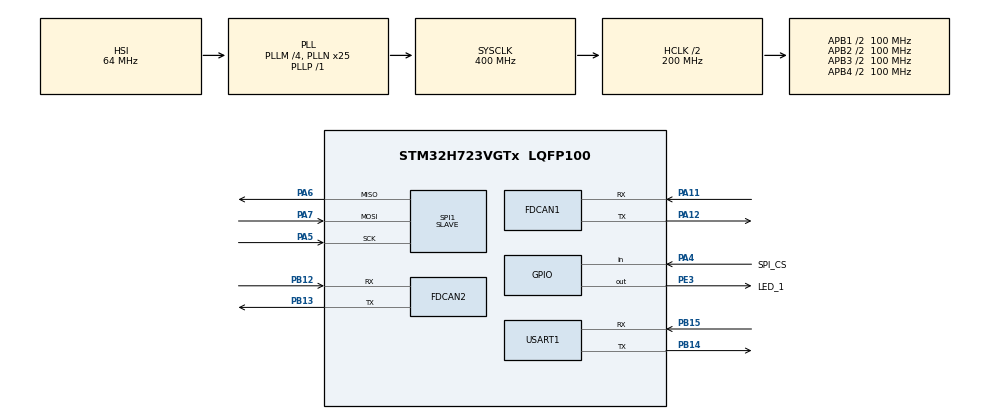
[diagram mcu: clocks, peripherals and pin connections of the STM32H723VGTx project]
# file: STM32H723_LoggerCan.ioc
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CORTEX_M7.default_mode_Activation=1
Dma.Request0=SPI1_RX
Dma.Request1=SPI1_TX
Dma.SPI1_RX.0.Direction=DMA_PERIPH_TO_MEMORY
Dma.SPI1_RX.0.EventEnable=DISABLE
Dma.SPI1_RX.0.FIFOMode=DMA_FIFOMODE_DISABLE
Dma.SPI1_RX.0.Instance=DMA1_Stream0
Dma.SPI1_RX.0.MemDataAlignment=DMA_MDATAALIGN_BYTE
Dma.SPI1_RX.0.MemInc=DMA_MINC_ENABLE
Dma.SPI1_RX.0.Mode=DMA_NORMAL
Dma.SPI1_RX.0.PeriphDataAlignment=DMA_PDATAALIGN_BYTE
Dma.SPI1_RX.0.PeriphInc=DMA_PINC_DISABLE
Dma.SPI1_RX.0.Polarity=HAL_DMAMUX_REQ_GEN_RISING
Dma.SPI1_RX.0.Priority=DMA_PRIORITY_LOW
Dma.SPI1_RX.0.RequestNumber=1
Dma.SPI1_RX.0.SignalID=NONE
Dma.SPI1_RX.0.SyncEnable=DISABLE
Dma.SPI1_RX.0.SyncPolarity=HAL_DMAMUX_SYNC_NO_EVENT
Dma.SPI1_RX.0.SyncRequestNumber=1
Dma.SPI1_RX.0.SyncSignalID=NONE
Dma.SPI1_TX.1.Direction=DMA_MEMORY_TO_PERIPH
Dma.SPI1_TX.1.EventEnable=DISABLE
Dma.SPI1_TX.1.FIFOMode=DMA_FIFOMODE_DISABLE
Dma.SPI1_TX.1.Instance=DMA1_Stream1
Dma.SPI1_TX.1.MemDataAlignment=DMA_MDATAALIGN_BYTE
Dma.SPI1_TX.1.MemInc=DMA_MINC_ENABLE
Dma.SPI1_TX.1.Mode=DMA_NORMAL
Dma.SPI1_TX.1.PeriphDataAlignment=DMA_PDATAALIGN_BYTE
Dma.SPI1_TX.1.PeriphInc=DMA_PINC_DISABLE
Dma.SPI1_TX.1.Polarity=HAL_DMAMUX_REQ_GEN_RISING
Dma.SPI1_TX.1.Priority=DMA_PRIORITY_HIGH
Dma.SPI1_TX.1.RequestNumber=1
Dma.SPI1_TX.1.SignalID=NONE
Dma.SPI1_TX.1.SyncEnable=DISABLE
Dma.SPI1_TX.1.SyncPolarity=HAL_DMAMUX_SYNC_NO_EVENT
Dma.SPI1_TX.1.SyncRequestNumber=1
Dma.SPI1_TX.1.SyncSignalID=NONE
FDCAN1.CalculateBaudRateNominal=500000
FDCAN1.CalculateTimeBitNominal=2000
FDCAN1.CalculateTimeQuantumNominal=125.0
FDCAN1.NominalPrescaler=5
FDCAN1.NominalTimeSeg1=12
FDCAN1.NominalTimeSeg2=3
FDCAN1.RxFifo0ElmtsNbr=16
FDCAN1.RxFifo1ElmtsNbr=16
FDCAN1.TxFifoQueueElmtsNbr=8
FDCAN2.CalculateBaudRateNominal=250000
FDCAN2.CalculateTimeBitNominal=4000
FDCAN2.CalculateTimeQuantumNominal=250.0
FDCAN2.NominalPrescaler=10
FDCAN2.NominalTimeSeg1=12
FDCAN2.NominalTimeSeg2=3
FDCAN2.RxFifo0ElmtsNbr=16
FDCAN2.RxFifo1ElmtsNbr=16
FDCAN2.TxFifoQueueElmtsNbr=8
FREERTOS.Tasks01=receiveCanTask,24,128,StartReceiveCanTask,Default,NULL,Dynamic,NULL,NULL;spiTask,24,2048,StartSpiTask,Default,NULL,Dynamic,NULL,NULL
FREERTOS.configENABLE_FPU=1
FREERTOS.configGENERATE_RUN_TIME_STATS=1
FREERTOS.configTOTAL_HEAP_SIZE=64000
FREERTOS.configUSE_NEWLIB_REENTRANT=1
FREERTOS.configUSE_STATS_FORMATTING_FUNCTIONS=1
FREERTOS.copyHeapFile=1
Mcu.Family=STM32H7
Mcu.Name=STM32H723VGTx
Mcu.Package=LQFP100
NVIC.DMA1_Stream0_IRQn=true\:5\:0\:false\:false\:true\:true\:false\:true\:true
NVIC.DMA1_Stream1_IRQn=true\:5\:0\:false\:false\:true\:true\:false\:true\:true
NVIC.FDCAN1_IT0_IRQn=true\:5\:0\:false\:false\:true\:true\:true\:true\:true
NVIC.FDCAN1_IT1_IRQn=true\:5\:0\:false\:false\:true\:true\:true\:true\:true
NVIC.FDCAN2_IT0_IRQn=true\:5\:0\:false\:false\:true\:true\:true\:true\:true
NVIC.FDCAN2_IT1_IRQn=true\:5\:0\:false\:false\:true\:true\:true\:true\:true
NVIC.PriorityGroup=NVIC_PRIORITYGROUP_4
NVIC.SPI1_IRQn=true\:5\:0\:false\:false\:true\:true\:false\:true\:true
NVIC.TIM2_IRQn=true\:5\:0\:false\:false\:true\:true\:true\:true\:true
NVIC.TIM6_DAC_IRQn=true\:15\:0\:false\:false\:true\:false\:false\:true\:true
NVIC.TimeBase=TIM6_DAC_IRQn
NVIC.TimeBaseIP=TIM6
PA11.Mode=FDCAN_Activate
PA11.Signal=FDCAN1_RX
PA12.Mode=FDCAN_Activate
PA12.Signal=FDCAN1_TX
PA4.GPIO_Label=SPI_CS
PA4.Signal=GPIO_Input
PA5.Mode=Full_Duplex_Slave
PA5.Signal=SPI1_SCK
PA6.Mode=Full_Duplex_Slave
PA6.Signal=SPI1_MISO
PA7.Mode=Full_Duplex_Slave
PA7.Signal=SPI1_MOSI
PB12.Mode=FDCAN_Activate
PB12.Signal=FDCAN2_RX
PB13.Mode=FDCAN_Activate
PB13.Signal=FDCAN2_TX
PB14.Mode=Asynchronous
PB14.Signal=USART1_TX
PB15.Mode=Asynchronous
PB15.Signal=USART1_RX
PE3.GPIO_Label=LED_1
PE3.Signal=GPIO_Output
ProjectManager.HeapSize=0x200
ProjectManager.StackSize=0x400
ProjectManager.TargetToolchain=STM32CubeIDE
RCC.ADCFreq_Value=129000000
RCC.APB1Freq_Value=100000000
RCC.APB2Freq_Value=100000000
RCC.APB3Freq_Value=100000000
RCC.APB4Freq_Value=100000000
RCC.CortexFreq_Value=400000000
RCC.D1PPRE=RCC_APB3_DIV2
RCC.D2PPRE1=RCC_APB1_DIV2
RCC.D2PPRE2=RCC_APB2_DIV2
RCC.D3PPRE=RCC_APB4_DIV2
RCC.DIVM1=4
RCC.DIVN1=25
RCC.DIVP1=1
RCC.DIVQ1=10
RCC.HCLKFreq_Value=200000000
RCC.HPRE=RCC_HCLK_DIV2
RCC.PLLFRACN=0
RCC.SYSCLKFreq_VALUE=400000000
RCC.SYSCLKSource=RCC_SYSCLKSOURCE_PLLCLK
RCC.USBFreq_Value=40000000
SPI1.DataSize=SPI_DATASIZE_8BIT
SPI1.Direction=SPI_DIRECTION_2LINES
SPI1.Mode=SPI_MODE_SLAVE
SPI1.VirtualType=VM_SLAVE
TIM2.Prescaler=199
USART1.VirtualMode-Asynchronous=VM_ASYNC
VP_FREERTOS_VS_CMSIS_V2.Mode=CMSIS_V2
VP_MEMORYMAP_VS_MEMORYMAP.Mode=CurAppReg
VP_SYS_VS_tim6.Mode=TIM6
VP_TIM2_VS_ClockSourceINT.Mode=Internal
board=custom

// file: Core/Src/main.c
/* USER CODE BEGIN Header */
/**
  ******************************************************************************
  * @file           : main.c
  * @brief          : Main program body
  ******************************************************************************
  * @attention
  *
  * Copyright (c) 2025 STMicroelectronics.
  * All rights reserved.
  *
  * This software is licensed under terms that can be found in the LICENSE file
  * in the root directory of this software component.
  * If no LICENSE file comes with this software, it is provided AS-IS.
  *
  ******************************************************************************
  */
/* USER CODE END Header */
#include "main.h"
#include "cmsis_os.h"

/* USER CODE BEGIN Includes */
#include "can_buffer.h"
#include "timer_utils.h"
#include "debug_utils.h"
#include "spi_comm.h"
/* USER CODE END Includes */

FDCAN_HandleTypeDef hfdcan1;
FDCAN_HandleTypeDef hfdcan2;

SPI_HandleTypeDef hspi1;
DMA_HandleTypeDef hdma_spi1_rx;
DMA_HandleTypeDef hdma_spi1_tx;

TIM_HandleTypeDef htim2;

UART_HandleTypeDef huart1;

/* Definitions for receiveCanTask */
osThreadId_t receiveCanTaskHandle;
const osThreadAttr_t receiveCanTask_attributes = {
  .name = "receiveCanTask",
  .stack_size = 128 * 4,
  .priority = (osPriority_t) osPriorityNormal,
};
/* Definitions for spiTask */
osThreadId_t spiTaskHandle;
const osThreadAttr_t spiTask_attributes = {
  .name = "spiTask",
  .stack_size = 2048 * 4,
  .priority = (osPriority_t) osPriorityNormal,
};
/* USER CODE BEGIN PV */
FDCAN_FilterTypeDef canFilterFIFO0Config, canFilterFIFO1Config;
/* USER CODE END PV */

void SystemClock_Config(void);
static void MPU_Config(void);
static void MX_GPIO_Init(void);
static void MX_DMA_Init(void);
static void MX_FDCAN1_Init(void);
static void MX_SPI1_Init(void);
static void MX_TIM2_Init(void);
static void MX_USART1_UART_Init(void);
static void MX_FDCAN2_Init(void);
void StartReceiveCanTask(void *argument);
void StartSpiTask(void *argument);

int main(void)
{

  /* MPU Configuration--------------------------------------------------------*/
  MPU_Config();

  /* MCU Configuration--------------------------------------------------------*/

  /* Reset of all peripherals, Initializes the Flash interface and the Systick. */
  HAL_Init();

  /* Configure the system clock */
  SystemClock_Config();

  /* Initialize all configured peripherals */
  MX_GPIO_Init();
  MX_DMA_Init();
  MX_FDCAN1_Init();
  MX_SPI1_Init();
  MX_TIM2_Init();
  MX_USART1_UART_Init();
  MX_FDCAN2_Init();
  /* USER CODE BEGIN 2 */
  if (HAL_FDCAN_Start(&hfdcan1) != HAL_OK) {
			printf("Errore nell'avvio del CAN\n");
	} else {
	  printf("CAN avviato correttamente\n");
	}
	HAL_FDCAN_ActivateNotification(&hfdcan1, FDCAN_IT_RX_FIFO0_NEW_MESSAGE  | FDCAN_IT_RX_FIFO0_MESSAGE_LOST, 0);
	HAL_FDCAN_ActivateNotification(&hfdcan1, FDCAN_IT_RX_FIFO1_NEW_MESSAGE | FDCAN_IT_RX_FIFO1_MESSAGE_LOST, 0);

	if (HAL_FDCAN_Start(&hfdcan2) != HAL_OK) {
				printf("Errore nell'avvio del CAN\n");
		} else {
		  printf("CAN avviato correttamente\n");
		}
		HAL_FDCAN_ActivateNotification(&hfdcan2, FDCAN_IT_RX_FIFO0_NEW_MESSAGE  | FDCAN_IT_RX_FIFO0_MESSAGE_LOST, 0);
		HAL_FDCAN_ActivateNotification(&hfdcan2, FDCAN_IT_RX_FIFO1_NEW_MESSAGE | FDCAN_IT_RX_FIFO1_MESSAGE_LOST, 0);
	TIM2_Init();
  /* USER CODE END 2 */

  /* Init scheduler */
  osKernelInitialize();

  /* Create the thread(s) */
  /* creation of receiveCanTask */
  receiveCanTaskHandle = osThreadNew(StartReceiveCanTask, NULL, &receiveCanTask_attributes);

  /* creation of spiTask */
  spiTaskHandle = osThreadNew(StartSpiTask, NULL, &spiTask_attributes);

  /* Start scheduler */
  osKernelStart();

  /* We should never get here as control is now taken by the scheduler */

  /* Infinite loop */
  while (1)
  {

  }
}

void SystemClock_Config(void)
{
  RCC_OscInitTypeDef RCC_OscInitStruct = {0};
  RCC_ClkInitTypeDef RCC_ClkInitStruct = {0};

  /** Supply configuration update enable
  */
  HAL_PWREx_ConfigSupply(PWR_LDO_SUPPLY);

  /** Configure the main internal regulator output voltage
  */
  __HAL_PWR_VOLTAGESCALING_CONFIG(PWR_REGULATOR_VOLTAGE_SCALE1);

  while(!__HAL_PWR_GET_FLAG(PWR_FLAG_VOSRDY)) {}

  /** Initializes the RCC Oscillators according to the specified parameters
  * in the RCC_OscInitTypeDef structure.
  */
  RCC_OscInitStruct.OscillatorType = RCC_OSCILLATORTYPE_HSI;
  RCC_OscInitStruct.HSIState = RCC_HSI_DIV1;
  RCC_OscInitStruct.HSICalibrationValue = 64;
  RCC_OscInitStruct.PLL.PLLState = RCC_PLL_ON;
  RCC_OscInitStruct.PLL.PLLSource = RCC_PLLSOURCE_HSI;
  RCC_OscInitStruct.PLL.PLLM = 4;
  RCC_OscInitStruct.PLL.PLLN = 25;
  RCC_OscInitStruct.PLL.PLLP = 1;
  RCC_OscInitStruct.PLL.PLLQ = 10;
  RCC_OscInitStruct.PLL.PLLR = 2;
  RCC_OscInitStruct.PLL.PLLRGE = RCC_PLL1VCIRANGE_3;
  RCC_OscInitStruct.PLL.PLLVCOSEL = RCC_PLL1VCOWIDE;
  RCC_OscInitStruct.PLL.PLLFRACN = 0;
  if (HAL_RCC_OscConfig(&RCC_OscInitStruct) != HAL_OK)
  {
    Error_Handler();
  }

  /** Initializes the CPU, AHB and APB buses clocks
  */
  RCC_ClkInitStruct.ClockType = RCC_CLOCKTYPE_HCLK|RCC_CLOCKTYPE_SYSCLK
                              |RCC_CLOCKTYPE_PCLK1|RCC_CLOCKTYPE_PCLK2
                              |RCC_CLOCKTYPE_D3PCLK1|RCC_CLOCKTYPE_D1PCLK1;
  RCC_ClkInitStruct.SYSCLKSource = RCC_SYSCLKSOURCE_PLLCLK;
  RCC_ClkInitStruct.SYSCLKDivider = RCC_SYSCLK_DIV1;
  RCC_ClkInitStruct.AHBCLKDivider = RCC_HCLK_DIV2;
  RCC_ClkInitStruct.APB3CLKDivider = RCC_APB3_DIV2;
  RCC_ClkInitStruct.APB1CLKDivider = RCC_APB1_DIV2;
  RCC_ClkInitStruct.APB2CLKDivider = RCC_APB2_DIV2;
  RCC_ClkInitStruct.APB4CLKDivider = RCC_APB4_DIV2;

  if (HAL_RCC_ClockConfig(&RCC_ClkInitStruct, FLASH_LATENCY_2) != HAL_OK)
  {
    Error_Handler();
  }
}

static void MX_FDCAN1_Init(void)
{

  hfdcan1.Instance = FDCAN1;
  hfdcan1.Init.FrameFormat = FDCAN_FRAME_CLASSIC;
  hfdcan1.Init.Mode = FDCAN_MODE_NORMAL;
  hfdcan1.Init.AutoRetransmission = DISABLE;
  hfdcan1.Init.TransmitPause = DISABLE;
  hfdcan1.Init.ProtocolException = DISABLE;
  hfdcan1.Init.NominalPrescaler = 5;
  hfdcan1.Init.NominalSyncJumpWidth = 1;
  hfdcan1.Init.NominalTimeSeg1 = 12;
  hfdcan1.Init.NominalTimeSeg2 = 3;
  hfdcan1.Init.DataPrescaler = 1;
  hfdcan1.Init.DataSyncJumpWidth = 1;
  hfdcan1.Init.DataTimeSeg1 = 1;
  hfdcan1.Init.DataTimeSeg2 = 1;
  hfdcan1.Init.MessageRAMOffset = 0;
  hfdcan1.Init.StdFiltersNbr = 0;
  hfdcan1.Init.ExtFiltersNbr = 0;
  hfdcan1.Init.RxFifo0ElmtsNbr = 16;
  hfdcan1.Init.RxFifo0ElmtSize = FDCAN_DATA_BYTES_8;
  hfdcan1.Init.RxFifo1ElmtsNbr = 16;
  hfdcan1.Init.RxFifo1ElmtSize = FDCAN_DATA_BYTES_8;
  hfdcan1.Init.RxBuffersNbr = 0;
  hfdcan1.Init.RxBufferSize = FDCAN_DATA_BYTES_8;
  hfdcan1.Init.TxEventsNbr = 0;
  hfdcan1.Init.TxBuffersNbr = 0;
  hfdcan1.Init.TxFifoQueueElmtsNbr = 8;
  hfdcan1.Init.TxFifoQueueMode = FDCAN_TX_FIFO_OPERATION;
  hfdcan1.Init.TxElmtSize = FDCAN_DATA_BYTES_8;
  if (HAL_FDCAN_Init(&hfdcan1) != HAL_OK)
  {
    Error_Handler();
  }
  /* USER CODE BEGIN FDCAN1_Init 2 */
  FDCAN_FilterTypeDef filterStd = {0};
  filterStd.IdType = FDCAN_STANDARD_ID;
  filterStd.FilterIndex = 0;
  filterStd.FilterType = FDCAN_FILTER_MASK;
  filterStd.FilterConfig = FDCAN_FILTER_TO_RXFIFO0;
  filterStd.FilterID1 = 0x000;      // ID base
  filterStd.FilterID2 = 0x000;      //
  if (HAL_FDCAN_ConfigFilter(&hfdcan1, &filterStd) != HAL_OK) {
      printf("❌ Errore configurazione filtro FIFO0\n");
  }

  FDCAN_FilterTypeDef filterExt = {0};
  filterExt.IdType = FDCAN_EXTENDED_ID;
  filterExt.FilterIndex = 1;
  filterExt.FilterType = FDCAN_FILTER_MASK;
  filterExt.FilterConfig = FDCAN_FILTER_TO_RXFIFO1;
  filterExt.FilterID1 = 0x00000000;  // ID base esteso
  filterExt.FilterID2 = 0x00000000;  // Maschera = 0 → accetta tutto
  if (HAL_FDCAN_ConfigFilter(&hfdcan1, &filterExt) != HAL_OK) {
      printf("❌ Errore configurazione filtro FIFO1\n");
  }
  /* USER CODE END FDCAN1_Init 2 */

}

static void MX_FDCAN2_Init(void)
{

  hfdcan2.Instance = FDCAN2;
  hfdcan2.Init.FrameFormat = FDCAN_FRAME_CLASSIC;
  hfdcan2.Init.Mode = FDCAN_MODE_NORMAL;
  hfdcan2.Init.AutoRetransmission = DISABLE;
  hfdcan2.Init.TransmitPause = DISABLE;
  hfdcan2.Init.ProtocolException = DISABLE;
  hfdcan2.Init.NominalPrescaler = 10;
  hfdcan2.Init.NominalSyncJumpWidth = 1;
  hfdcan2.Init.NominalTimeSeg1 = 12;
  hfdcan2.Init.NominalTimeSeg2 = 3;
  hfdcan2.Init.DataPrescaler = 1;
  hfdcan2.Init.DataSyncJumpWidth = 1;
  hfdcan2.Init.DataTimeSeg1 = 1;
  hfdcan2.Init.DataTimeSeg2 = 1;
  hfdcan2.Init.MessageRAMOffset = 0;
  hfdcan2.Init.StdFiltersNbr = 0;
  hfdcan2.Init.ExtFiltersNbr = 0;
  hfdcan2.Init.RxFifo0ElmtsNbr = 16;
  hfdcan2.Init.RxFifo0ElmtSize = FDCAN_DATA_BYTES_8;
  hfdcan2.Init.RxFifo1ElmtsNbr = 16;
  hfdcan2.Init.RxFifo1ElmtSize = FDCAN_DATA_BYTES_8;
  hfdcan2.Init.RxBuffersNbr = 0;
  hfdcan2.Init.RxBufferSize = FDCAN_DATA_BYTES_8;
  hfdcan2.Init.TxEventsNbr = 0;
  hfdcan2.Init.TxBuffersNbr = 0;
  hfdcan2.Init.TxFifoQueueElmtsNbr = 8;
  hfdcan2.Init.TxFifoQueueMode = FDCAN_TX_FIFO_OPERATION;
  hfdcan2.Init.TxElmtSize = FDCAN_DATA_BYTES_8;
  if (HAL_FDCAN_Init(&hfdcan2) != HAL_OK)
  {
    Error_Handler();
  }

}

static void MX_SPI1_Init(void)
{

  /* SPI1 parameter configuration*/
  hspi1.Instance = SPI1;
  hspi1.Init.Mode = SPI_MODE_SLAVE;
  hspi1.Init.Direction = SPI_DIRECTION_2LINES;
  hspi1.Init.DataSize = SPI_DATASIZE_8BIT;
  hspi1.Init.CLKPolarity = SPI_POLARITY_LOW;
  hspi1.Init.CLKPhase = SPI_PHASE_1EDGE;
  hspi1.Init.NSS = SPI_NSS_SOFT;
  hspi1.Init.FirstBit = SPI_FIRSTBIT_MSB;
  hspi1.Init.TIMode = SPI_TIMODE_DISABLE;
  hspi1.Init.CRCCalculation = SPI_CRCCALCULATION_DISABLE;
  hspi1.Init.CRCPolynomial = 0x0;
  hspi1.Init.NSSPMode = SPI_NSS_PULSE_DISABLE;
  hspi1.Init.NSSPolarity = SPI_NSS_POLARITY_LOW;
  hspi1.Init.FifoThreshold = SPI_FIFO_THRESHOLD_01DATA;
  hspi1.Init.TxCRCInitializationPattern = SPI_CRC_INITIALIZATION_ALL_ZERO_PATTERN;
  hspi1.Init.RxCRCInitializationPattern = SPI_CRC_INITIALIZATION_ALL_ZERO_PATTERN;
  hspi1.Init.MasterSSIdleness = SPI_MASTER_SS_IDLENESS_00CYCLE;
  hspi1.Init.MasterInterDataIdleness = SPI_MASTER_INTERDATA_IDLENESS_00CYCLE;
  hspi1.Init.MasterReceiverAutoSusp = SPI_MASTER_RX_AUTOSUSP_DISABLE;
  hspi1.Init.MasterKeepIOState = SPI_MASTER_KEEP_IO_STATE_DISABLE;
  hspi1.Init.IOSwap = SPI_IO_SWAP_DISABLE;
  if (HAL_SPI_Init(&hspi1) != HAL_OK)
  {
    Error_Handler();
  }

}

static void MX_TIM2_Init(void)
{

  TIM_ClockConfigTypeDef sClockSourceConfig = {0};
  TIM_MasterConfigTypeDef sMasterConfig = {0};

  htim2.Instance = TIM2;
  htim2.Init.Prescaler = 199;
  htim2.Init.CounterMode = TIM_COUNTERMODE_UP;
  htim2.Init.Period = 4294967295;
  htim2.Init.ClockDivision = TIM_CLOCKDIVISION_DIV1;
  htim2.Init.AutoReloadPreload = TIM_AUTORELOAD_PRELOAD_DISABLE;
  if (HAL_TIM_Base_Init(&htim2) != HAL_OK)
  {
    Error_Handler();
  }
  sClockSourceConfig.ClockSource = TIM_CLOCKSOURCE_INTERNAL;
  if (HAL_TIM_ConfigClockSource(&htim2, &sClockSourceConfig) != HAL_OK)
  {
    Error_Handler();
  }
  sMasterConfig.MasterOutputTrigger = TIM_TRGO_RESET;
  sMasterConfig.MasterSlaveMode = TIM_MASTERSLAVEMODE_DISABLE;
  if (HAL_TIMEx_MasterConfigSynchronization(&htim2, &sMasterConfig) != HAL_OK)
  {
    Error_Handler();
  }

}

static void MX_USART1_UART_Init(void)
{

  huart1.Instance = USART1;
  huart1.Init.BaudRate = 115200;
  huart1.Init.WordLength = UART_WORDLENGTH_8B;
  huart1.Init.StopBits = UART_STOPBITS_1;
  huart1.Init.Parity = UART_PARITY_NONE;
  huart1.Init.Mode = UART_MODE_TX_RX;
  huart1.Init.HwFlowCtl = UART_HWCONTROL_NONE;
  huart1.Init.OverSampling = UART_OVERSAMPLING_16;
  huart1.Init.OneBitSampling = UART_ONE_BIT_SAMPLE_DISABLE;
  huart1.Init.ClockPrescaler = UART_PRESCALER_DIV1;
  huart1.AdvancedInit.AdvFeatureInit = UART_ADVFEATURE_NO_INIT;
  if (HAL_UART_Init(&huart1) != HAL_OK)
  {
    Error_Handler();
  }
  if (HAL_UARTEx_SetTxFifoThreshold(&huart1, UART_TXFIFO_THRESHOLD_1_8) != HAL_OK)
  {
    Error_Handler();
  }
  if (HAL_UARTEx_SetRxFifoThreshold(&huart1, UART_RXFIFO_THRESHOLD_1_8) != HAL_OK)
  {
    Error_Handler();
  }
  if (HAL_UARTEx_DisableFifoMode(&huart1) != HAL_OK)
  {
    Error_Handler();
  }

}

static void MX_DMA_Init(void)
{

  /* DMA controller clock enable */
  __HAL_RCC_DMA1_CLK_ENABLE();

  /* DMA interrupt init */
  /* DMA1_Stream0_IRQn interrupt configuration */
  HAL_NVIC_SetPriority(DMA1_Stream0_IRQn, 5, 0);
  HAL_NVIC_EnableIRQ(DMA1_Stream0_IRQn);
  /* DMA1_Stream1_IRQn interrupt configuration */
  HAL_NVIC_SetPriority(DMA1_Stream1_IRQn, 5, 0);
  HAL_NVIC_EnableIRQ(DMA1_Stream1_IRQn);

}

static void MX_GPIO_Init(void)
{
  GPIO_InitTypeDef GPIO_InitStruct = {0};

  /* GPIO Ports Clock Enable */
  __HAL_RCC_GPIOE_CLK_ENABLE();
  __HAL_RCC_GPIOA_CLK_ENABLE();
  __HAL_RCC_GPIOB_CLK_ENABLE();

  /*Configure GPIO pin Output Level */
  HAL_GPIO_WritePin(LED_1_GPIO_Port, LED_1_Pin, GPIO_PIN_RESET);

  /*Configure GPIO pin : LED_1_Pin */
  GPIO_InitStruct.Pin = LED_1_Pin;
  GPIO_InitStruct.Mode = GPIO_MODE_OUTPUT_PP;
  GPIO_InitStruct.Pull = GPIO_NOPULL;
  GPIO_InitStruct.Speed = GPIO_SPEED_FREQ_LOW;
  HAL_GPIO_Init(LED_1_GPIO_Port, &GPIO_InitStruct);

  /*Configure GPIO pin : SPI_CS_Pin */
  GPIO_InitStruct.Pin = SPI_CS_Pin;
  GPIO_InitStruct.Mode = GPIO_MODE_INPUT;
  GPIO_InitStruct.Pull = GPIO_NOPULL;
  HAL_GPIO_Init(SPI_CS_GPIO_Port, &GPIO_InitStruct);

}

void StartReceiveCanTask(void *argument)
{
  /* USER CODE BEGIN 5 */

  /* Infinite loop */
  for(;;)
  {
	  ;

    osDelay(100);
  }
  /* USER CODE END 5 */
}

void StartSpiTask(void *argument)
{
  /* USER CODE BEGIN StartSpiTask */
	//SPI_StartReception();
  /* Infinite loop */
	SPI_Init();
  for (;;) {

	  uint32_t now = get_timestamp_us();  // µs

	  bool watchdogRes = SPI_IsWatchdogExpired();
	  if (watchdogRes) {
		  SPI_reStartMode();
	  }

	  if (numMsgToSend == 0) {
		  for (int i = 0; i < BUFFER_COUNT; i++) {
			  CANBuffer *buf = &canBuffers[i];
			  bool res = 0;
			  if (buf->full) {

				  res = selectTxBuffer(buf, &spiTxLength);

				  if (res){
					  buf->full = false;
				  }

			  } else if (i == activeWriteBuffer) {
				  // Se è il buffer attivo, verifica timeout
				  __disable_irq();
				  if (buf->index > 0 && (now - buf->lastMessageTimestamp) >= 10000) {
					  activeWriteBuffer = (activeWriteBuffer + 1) % BUFFER_COUNT;
					  __enable_irq();
					  res = selectTxBuffer(buf, &spiTxLength);

					  if (res){
						  buf->full = false;
					  }

				  }else{
				  __enable_irq();
				  }
			  }
		  }
	  }

	 vTaskDelay(pdMS_TO_TICKS(1));  // oppure tick minimo se vuoi più reattività

  }
  /* USER CODE END StartSpiTask */
}

 /* MPU Configuration */

void MPU_Config(void)
{
  MPU_Region_InitTypeDef MPU_InitStruct = {0};

  /* Disables the MPU */
  HAL_MPU_Disable();

  /** Initializes and configures the Region and the memory to be protected
  */
  MPU_InitStruct.Enable = MPU_REGION_ENABLE;
  MPU_InitStruct.Number = MPU_REGION_NUMBER0;
  MPU_InitStruct.BaseAddress = 0x0;
  MPU_InitStruct.Size = MPU_REGION_SIZE_4GB;
  MPU_InitStruct.SubRegionDisable = 0x87;
  MPU_InitStruct.TypeExtField = MPU_TEX_LEVEL0;
  MPU_InitStruct.AccessPermission = MPU_REGION_NO_ACCESS;
  MPU_InitStruct.DisableExec = MPU_INSTRUCTION_ACCESS_DISABLE;
  MPU_InitStruct.IsShareable = MPU_ACCESS_SHAREABLE;
  MPU_InitStruct.IsCacheable = MPU_ACCESS_NOT_CACHEABLE;
  MPU_InitStruct.IsBufferable = MPU_ACCESS_NOT_BUFFERABLE;

  HAL_MPU_ConfigRegion(&MPU_InitStruct);
  /* Enables the MPU */
  HAL_MPU_Enable(MPU_PRIVILEGED_DEFAULT);

}

void HAL_TIM_PeriodElapsedCallback(TIM_HandleTypeDef *htim)
{
  if (htim->Instance == TIM6)
  {
    HAL_IncTick();
  }
  /* USER CODE BEGIN Callback 1 */
  if (htim->Instance == TIM2)
    {
  	  set_timestamp();
    }
  /* USER CODE END Callback 1 */
}

void Error_Handler(void)
{
  __disable_irq();
  while (1)
  {
  }
}
